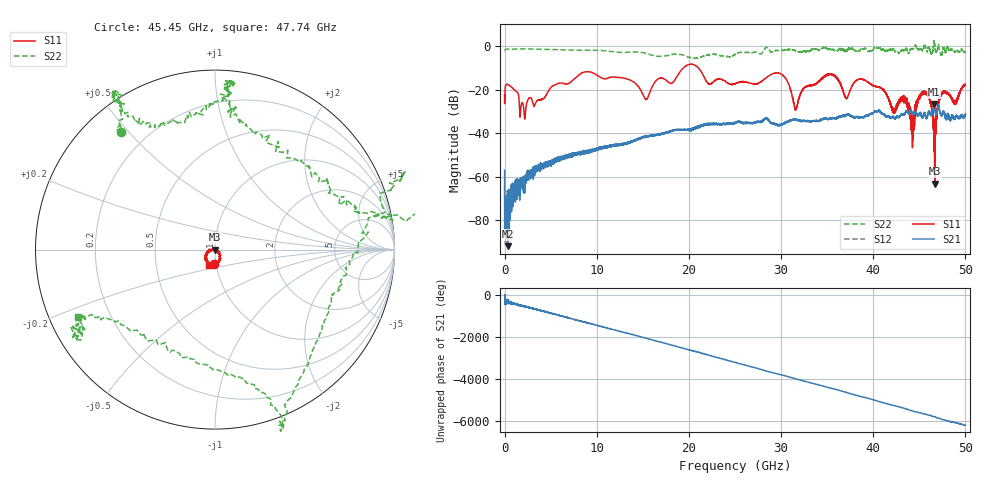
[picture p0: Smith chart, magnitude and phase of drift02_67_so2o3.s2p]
!Created with skrf (http://scikit-rf.org).
# Hz S RI R 50.0
!freq ReS11 ImS11 ReS21 ImS21 ReS12 ImS12 ReS22 ImS22
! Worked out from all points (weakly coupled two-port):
!   10001 points, 300 kHz to 50 GHz, reference 50 ohm
!   highest |S21| = -26.75 dB at 46.61 GHz (marker M1); lowest = -92.0 dB at 335.3 MHz (marker M2)
!   lowest |S11| = -63.2 dB at 46.69 GHz (marker M3), VSWR 1.00, Z = 49.9 + j0.0251 ohm
!   |S11| at or under -10 dB: start of sweep to 19.42 GHz; 21.01 GHz to end of sweep
!   |S22| runs from -5.7 to 2.5 dB; largest |S21 - S12| = 0.0034
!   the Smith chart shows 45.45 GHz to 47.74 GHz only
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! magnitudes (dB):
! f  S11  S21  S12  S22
! 300 kHz  -22.4  -57.1  -63.7  -2.1
! 335.3 MHz  -17.7  -92.0  -70.0  -1.4
! 2.18 GHz  -33.5  -67.6  -63.3  -1.3
! 8.335 GHz  -12.5  -49.5  -49.0  -1.9
! 15.34 GHz  -24.6  -41.7  -41.7  -3.3
! 16.67 GHz  -15.1  -40.8  -40.8  -4.7
! 20.3 GHz  -8.4  -38.1  -38.3  -5.5
! 25 GHz  -17.4  -35.4  -35.4  -3.9
! 29.86 GHz  -12.6  -36.3  -36.5  -2.0
! 31.58 GHz  -29.2  -33.8  -34.0  -2.4
! 33.34 GHz  -18.1  -34.3  -34.6  -1.6
! 35.54 GHz  -12.9  -33.4  -33.2  -1.7
! 37.1 GHz  -24.2  -31.6  -31.7  -2.2
! 38.78 GHz  -15.2  -32.6  -32.6  -1.0
! 41.67 GHz  -24.3  -32.0  -32.2  -1.9
! 43.4 GHz  -25.1  -31.3  -31.3  -1.9
! 44.27 GHz  -38.1  -31.1  -31.1  -1.4
! 45.7 GHz  -21.9  -32.4  -32.2  -0.8
! 46.61 GHz  -41.6  -26.8  -26.9  2.5
! 46.69 GHz  -63.2  -29.6  -29.0  -0.4
! 47.48 GHz  -21.9  -31.4  -31.4  -3.1
! 50 GHz  -18.0  -31.8  -31.6  -2.7
